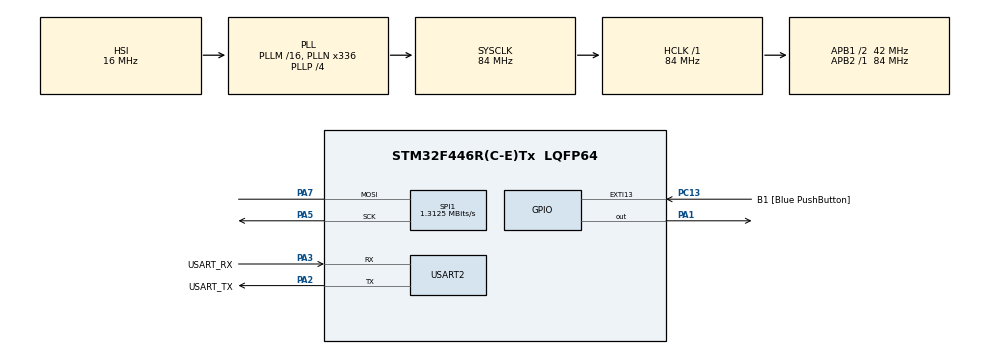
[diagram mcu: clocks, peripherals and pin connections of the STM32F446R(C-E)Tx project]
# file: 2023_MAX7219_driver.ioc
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Mcu.Family=STM32F4
PC15-OSC32_OUT.Mode=LSE-External-Oscillator
PH0-OSC_IN.Signal=RCC_OSC_IN
RCC.CortexFreq_Value=84000000
PA7.Mode=Simplex_Bidirectional_Master
SPI1.VirtualType=VM_MASTER
PC13.Signal=GPXTI13
PA14.GPIO_Label=TCK
PC13.GPIO_Label=B1 [Blue PushButton]
RCC.APB1CLKDivider=RCC_HCLK_DIV2
PC14-OSC32_IN.Signal=RCC_OSC32_IN
RCC.SYSCLKSource=RCC_SYSCLKSOURCE_PLLCLK
ProjectManager.StackSize=0x400
PA13.Signal=SYS_JTMS-SWDIO
PA3.Mode=Asynchronous
ProjectManager.TargetToolchain=STM32CubeIDE
SPI1.Direction=SPI_DIRECTION_1LINE
RCC.HCLKFreq_Value=84000000
RCC.APB2TimFreq_Value=84000000
SPI1.CalculateBaudRate=1.3125 MBits/s
RCC.USBFreq_Value=168000000
PC15-OSC32_OUT.Signal=RCC_OSC32_OUT
PA1.Signal=GPIO_Output
RCC.AHBFreq_Value=84000000
PH0-OSC_IN.Mode=HSE-External-Oscillator
PA5.Signal=SPI1_SCK
RCC.HSE_VALUE=8000000
board=NUCLEO-F446RE
RCC.VCOOutputFreq_Value=336000000
RCC.APB2Freq_Value=84000000
PC14-OSC32_IN.Mode=LSE-External-Oscillator
SPI1.Mode=SPI_MODE_MASTER
PA14.Mode=Serial_Wire
PH1-OSC_OUT.Signal=RCC_OSC_OUT
PA13.Mode=Serial_Wire
Mcu.Name=STM32F446R(C-E)Tx
PA2.Signal=USART2_TX
PA13.GPIO_Label=TMS
RCC.FLatency-AdvancedSettings=FLASH_LATENCY_2
PH1-OSC_OUT.Mode=HSE-External-Oscillator
RCC.48MHZClocksFreq_Value=84000000
PB3.Signal=SYS_JTDO-SWO
RCC.SYSCLKFreq_VALUE=84000000
Mcu.Package=LQFP64
PC13.GPIO_ModeDefaultEXTI=GPIO_MODE_IT_FALLING
USART2.VirtualMode=VM_ASYNC
PA2.GPIO_Label=USART_TX
PA14.Signal=SYS_JTCK-SWCLK
ProjectManager.HeapSize=0x200
RCC.HSI_VALUE=16000000
RCC.PLLP=RCC_PLLP_DIV4
NVIC.PriorityGroup=NVIC_PRIORITYGROUP_0
RCC.PLLN=336
RCC.APB1TimFreq_Value=84000000
PA2.Mode=Asynchronous
RCC.APB1Freq_Value=42000000
SPI1.BaudRatePrescaler=SPI_BAUDRATEPRESCALER_64
PA3.GPIO_Label=USART_RX
PA3.Signal=USART2_RX
PA5.Mode=Simplex_Bidirectional_Master
PA7.Signal=SPI1_MOSI
PB3.GPIO_Label=SWO

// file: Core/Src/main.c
/* USER CODE BEGIN Header */
/**
  ******************************************************************************
  * @file           : main.c
  * @brief          : Main program body
  ******************************************************************************
  * @attention
  *
  * <h2><center>&copy; Copyright (c) 2023 STMicroelectronics.
  * All rights reserved.</center></h2>
  *
  * This software component is licensed by ST under BSD 3-Clause license,
  * the "License"; You may not use this file except in compliance with the
  * License. You may obtain a copy of the License at:
  *                        opensource.org/licenses/BSD-3-Clause
  *
  ******************************************************************************
  */
/* USER CODE END Header */
#include "main.h"

SPI_HandleTypeDef hspi1;

UART_HandleTypeDef huart2;

void SystemClock_Config(void);
static void MX_GPIO_Init(void);
static void MX_USART2_UART_Init(void);
static void MX_SPI1_Init(void);
/* USER CODE BEGIN PFP */
void spi1_send_data(data_to_transmit_t *data);
/* USER CODE END PFP */

int main(void)
{

  /* MCU Configuration--------------------------------------------------------*/

  /* Reset of all peripherals, Initializes the Flash interface and the Systick. */
  HAL_Init();

  /* Configure the system clock */
  SystemClock_Config();

  /* Initialize all configured peripherals */
  MX_GPIO_Init();
  MX_USART2_UART_Init();
  MX_SPI1_Init();
  /* USER CODE BEGIN 2 */

  spi_send = spi1_send_data;

  MAX7219_BCD_Init();

  MAX7219_BCD_display_single_char(DIGIT_8_DISPLAY_CODE, DIGIT_7_ADDRESS, DISABLE);
  MAX7219_BCD_display_single_char(DIGIT_7_DISPLAY_CODE, DIGIT_6_ADDRESS, DISABLE);
  MAX7219_BCD_display_single_char(DIGIT_6_DISPLAY_CODE, DIGIT_5_ADDRESS, DISABLE);
  MAX7219_BCD_display_single_char(DIGIT_5_DISPLAY_CODE, DIGIT_4_ADDRESS, DISABLE);
  MAX7219_BCD_display_single_char(DIGIT_4_DISPLAY_CODE, DIGIT_3_ADDRESS, DISABLE);
  MAX7219_BCD_display_single_char(DIGIT_3_DISPLAY_CODE, DIGIT_2_ADDRESS, DISABLE);
  MAX7219_BCD_display_single_char(DIGIT_2_DISPLAY_CODE, DIGIT_1_ADDRESS, DISABLE);
  MAX7219_BCD_display_single_char(DIGIT_1_DISPLAY_CODE, DIGIT_0_ADDRESS, DISABLE);
  HAL_Delay(2000);
  MAX7219_EnorDi_test_mode(ENABLE);
  HAL_Delay(2000);
  MAX7219_EnorDi_test_mode(DISABLE);
  HAL_Delay(2000);

  MAX7219_BCD_display_single_char(LETTER_E_DISPLAY_CODE, DIGIT_7_ADDRESS, ENABLE);
  MAX7219_BCD_display_single_char(BLANK_DISPLAY_CODE, DIGIT_6_ADDRESS, DISABLE);
  MAX7219_BCD_display_single_char(LETTER_H_DISPLAY_CODE, DIGIT_5_ADDRESS, ENABLE);
  MAX7219_BCD_display_single_char(BLANK_DISPLAY_CODE, DIGIT_4_ADDRESS, DISABLE);
  MAX7219_BCD_display_single_char(LETTER_L_DISPLAY_CODE, DIGIT_3_ADDRESS, ENABLE);
  MAX7219_BCD_display_single_char(BLANK_DISPLAY_CODE, DIGIT_2_ADDRESS, DISABLE);
  MAX7219_BCD_display_single_char(LETTER_P_DISPLAY_CODE, DIGIT_1_ADDRESS, ENABLE);
  MAX7219_BCD_display_single_char(BLANK_DISPLAY_CODE, DIGIT_0_ADDRESS, DISABLE);
  /* USER CODE END 2 */

  /* Infinite loop */
  while (1)
  {

  }
}

void SystemClock_Config(void)
{
  RCC_OscInitTypeDef RCC_OscInitStruct = {0};
  RCC_ClkInitTypeDef RCC_ClkInitStruct = {0};

  /** Configure the main internal regulator output voltage
  */
  __HAL_RCC_PWR_CLK_ENABLE();
  __HAL_PWR_VOLTAGESCALING_CONFIG(PWR_REGULATOR_VOLTAGE_SCALE3);
  /** Initializes the RCC Oscillators according to the specified parameters
  * in the RCC_OscInitTypeDef structure.
  */
  RCC_OscInitStruct.OscillatorType = RCC_OSCILLATORTYPE_HSI;
  RCC_OscInitStruct.HSIState = RCC_HSI_ON;
  RCC_OscInitStruct.HSICalibrationValue = RCC_HSICALIBRATION_DEFAULT;
  RCC_OscInitStruct.PLL.PLLState = RCC_PLL_ON;
  RCC_OscInitStruct.PLL.PLLSource = RCC_PLLSOURCE_HSI;
  RCC_OscInitStruct.PLL.PLLM = 16;
  RCC_OscInitStruct.PLL.PLLN = 336;
  RCC_OscInitStruct.PLL.PLLP = RCC_PLLP_DIV4;
  RCC_OscInitStruct.PLL.PLLQ = 2;
  RCC_OscInitStruct.PLL.PLLR = 2;
  if (HAL_RCC_OscConfig(&RCC_OscInitStruct) != HAL_OK)
  {
    Error_Handler();
  }
  /** Initializes the CPU, AHB and APB buses clocks
  */
  RCC_ClkInitStruct.ClockType = RCC_CLOCKTYPE_HCLK|RCC_CLOCKTYPE_SYSCLK
                              |RCC_CLOCKTYPE_PCLK1|RCC_CLOCKTYPE_PCLK2;
  RCC_ClkInitStruct.SYSCLKSource = RCC_SYSCLKSOURCE_PLLCLK;
  RCC_ClkInitStruct.AHBCLKDivider = RCC_SYSCLK_DIV1;
  RCC_ClkInitStruct.APB1CLKDivider = RCC_HCLK_DIV2;
  RCC_ClkInitStruct.APB2CLKDivider = RCC_HCLK_DIV1;

  if (HAL_RCC_ClockConfig(&RCC_ClkInitStruct, FLASH_LATENCY_2) != HAL_OK)
  {
    Error_Handler();
  }
}

static void MX_SPI1_Init(void)
{

  /* SPI1 parameter configuration*/
  hspi1.Instance = SPI1;
  hspi1.Init.Mode = SPI_MODE_MASTER;
  hspi1.Init.Direction = SPI_DIRECTION_1LINE;
  hspi1.Init.DataSize = SPI_DATASIZE_8BIT;
  hspi1.Init.CLKPolarity = SPI_POLARITY_LOW;
  hspi1.Init.CLKPhase = SPI_PHASE_1EDGE;
  hspi1.Init.NSS = SPI_NSS_SOFT;
  hspi1.Init.BaudRatePrescaler = SPI_BAUDRATEPRESCALER_128;
  hspi1.Init.FirstBit = SPI_FIRSTBIT_MSB;
  hspi1.Init.TIMode = SPI_TIMODE_DISABLE;
  hspi1.Init.CRCCalculation = SPI_CRCCALCULATION_DISABLE;
  hspi1.Init.CRCPolynomial = 10;
  if (HAL_SPI_Init(&hspi1) != HAL_OK)
  {
    Error_Handler();
  }

}

static void MX_USART2_UART_Init(void)
{

  huart2.Instance = USART2;
  huart2.Init.BaudRate = 115200;
  huart2.Init.WordLength = UART_WORDLENGTH_8B;
  huart2.Init.StopBits = UART_STOPBITS_1;
  huart2.Init.Parity = UART_PARITY_NONE;
  huart2.Init.Mode = UART_MODE_TX_RX;
  huart2.Init.HwFlowCtl = UART_HWCONTROL_NONE;
  huart2.Init.OverSampling = UART_OVERSAMPLING_16;
  if (HAL_UART_Init(&huart2) != HAL_OK)
  {
    Error_Handler();
  }

}

static void MX_GPIO_Init(void)
{
  GPIO_InitTypeDef GPIO_InitStruct = {0};

  /* GPIO Ports Clock Enable */
  __HAL_RCC_GPIOC_CLK_ENABLE();
  __HAL_RCC_GPIOH_CLK_ENABLE();
  __HAL_RCC_GPIOA_CLK_ENABLE();
  __HAL_RCC_GPIOB_CLK_ENABLE();

  /*Configure GPIO pin Output Level */
  HAL_GPIO_WritePin(GPIOA, GPIO_PIN_1, GPIO_PIN_RESET);

  /*Configure GPIO pin : B1_Pin */
  GPIO_InitStruct.Pin = B1_Pin;
  GPIO_InitStruct.Mode = GPIO_MODE_IT_FALLING;
  GPIO_InitStruct.Pull = GPIO_NOPULL;
  HAL_GPIO_Init(B1_GPIO_Port, &GPIO_InitStruct);

  /*Configure GPIO pin : PA1 */
  GPIO_InitStruct.Pin = GPIO_PIN_1;
  GPIO_InitStruct.Mode = GPIO_MODE_OUTPUT_PP;
  GPIO_InitStruct.Pull = GPIO_NOPULL;
  GPIO_InitStruct.Speed = GPIO_SPEED_FREQ_LOW;
  HAL_GPIO_Init(GPIOA, &GPIO_InitStruct);

}

/* USER CODE BEGIN 4 */

void spi1_send_data(data_to_transmit_t *data){

	  HAL_GPIO_WritePin(GPIOA, GPIO_PIN_1, GPIO_PIN_RESET);
	  HAL_SPI_Transmit(&hspi1, (uint8_t*)data, sizeof(*data), HAL_MAX_DELAY);
	  HAL_GPIO_WritePin(GPIOA, GPIO_PIN_1, GPIO_PIN_SET);
	  HAL_Delay(10);

}

/* USER CODE END 4 */

void Error_Handler(void)
{
  __disable_irq();
  while (1)
  {
  }
}

/************************ (C) COPYRIGHT STMicroelectronics *****END OF FILE****/
